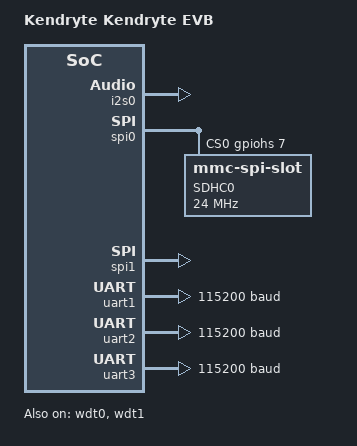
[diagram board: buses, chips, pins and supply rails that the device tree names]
/dts-v1/;

#include <riscv64-k210.dtsi>

/ {
	model = "Kendryte Kendryte EVB";
	compatible = "kendryte,kendryte_evb";
	chosen {
		zephyr,console = &uart3;
	};
};

&dma {
	status = "ok";
};

&gpio {
	status = "ok";
};

&gpiohs {
	status = "ok";
};

&i2s0 {
	status = "ok";
};

&spi0 {
	status = "ok";
	cs-gpios = <&gpiohs 7 0>;
	#address-cells = <1>;
	#size-cells = <0>;

	sdhc0: sdhc@0 {
		compatible = "zephyr,mmc-spi-slot";
		reg = <0>;
		status = "ok";
		label = "SDHC0";
		spi-max-frequency = <24000000>;
	};
};

&spi1 {
	status = "ok";
};

&uart1 {
	current-speed = <115200>;
	clock-frequency = <16000000>;
};

&uart2 {
	current-speed = <115200>;
	clock-frequency = <16000000>;
};

&uart3 {
	status = "ok";
	current-speed = <115200>;
	clock-frequency = <16000000>;
};

&wdt0 {
	status = "ok";
};

&wdt1 {
	status = "ok";
};

